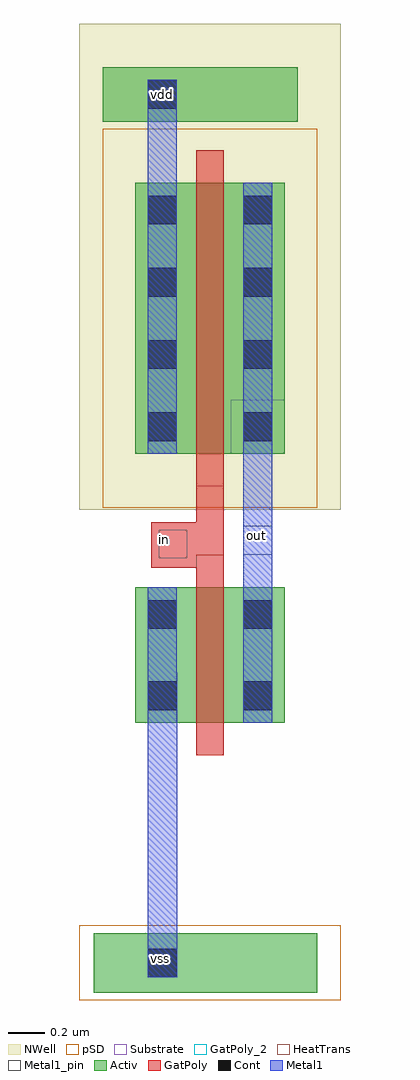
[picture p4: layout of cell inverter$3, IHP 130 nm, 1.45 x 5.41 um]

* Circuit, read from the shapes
.subckt inverter$3 in out vdd vss
XM1 out in vss vss sg13_lv_nmos w=0.75u l=0.15u
XM2 out in vdd vdd sg13_lv_pmos w=1.5u l=0.15u
.ends

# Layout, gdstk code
import gdstk
lib = gdstk.Library(unit=1e-6, precision=5e-09)
def R(c, l, rs):  # rectangles x0, y0, x1, y1
    for r in rs: c.add(gdstk.rectangle(r[:2], r[2:], *l))
def A(c, l, x, y, w, h, nx, ny, dx, dy):  # array of equal rectangles
    R(c, l, [(x+i*dx, y+j*dy, x+i*dx+w, y+j*dy+h) for i in range(nx) for j in range(ny)])
Activ = (1, 0)
GatPoly = (5, 0)
GatPoly_2 = (5, 2)
Cont = (6, 0)
Metal1 = (8, 0)
Metal1_pin = (8, 2)
pSD = (14, 0)
NWell = (31, 0)
Substrate = (40, 0)
HeatTrans = (51, 0)

nmos_4 = lib.new_cell('nmos$4')
R(nmos_4, Activ, [(0,0,0.3,0.3), (0,0,0.83,0.75), (0.53,0,0.83,0.3)])
R(nmos_4, GatPoly, [(0.34,-0.18,0.49,0.93)])
R(nmos_4, GatPoly_2, [(0.34,-0.18,0.49,0.93)])
R(nmos_4, Cont, [(0.07,0.07,0.23,0.23), (0.6,0.07,0.76,0.23), (0.07,0.52,0.23,0.68), (0.6,0.52,0.76,0.68)])
R(nmos_4, Metal1, [(0.07,0,0.23,0.75), (0.6,0,0.76,0.75)])
R(nmos_4, Metal1_pin, [(0.07,0,0.23,0.75), (0.6,0,0.76,0.75)])
R(nmos_4, HeatTrans, [(0.34,-0.18,0.49,0.93)])
nmos_4.add(gdstk.Label('nmos', (0.415,0.375), layer=63, texttype=0))
nmos_4.add(gdstk.Label('nmos', (0.415,0.375), layer=51, texttype=0))

pmos_4 = lib.new_cell('pmos$4')
R(pmos_4, Activ, [(0,0,0.3,0.3), (0,0,0.83,1.5), (0.53,0,0.83,0.3)])
R(pmos_4, GatPoly, [(0.34,-0.18,0.49,1.68), (0.34,-0.18,0.49,1.68)])
A(pmos_4, Cont, 0.07, 0.07, 0.16, 0.16, 1, 4, 0, 0.4)
A(pmos_4, Cont, 0.6, 0.07, 0.16, 0.16, 1, 4, 0, 0.4)
R(pmos_4, Metal1, [(0.07,0,0.23,1.5), (0.07,0,0.23,1.5), (0.6,0,0.76,1.5), (0.6,0,0.76,1.5)])
R(pmos_4, pSD, [(-0.18,-0.3,1.01,1.8)])
R(pmos_4, NWell, [(-0.31,-0.31,1.14,1.81)])
R(pmos_4, Substrate, [(0.53,0,0.83,0.3)])
R(pmos_4, HeatTrans, [(0.34,-0.18,0.49,1.68)])
pmos_4.add(gdstk.Label('pmos', (0.415,0.75), layer=63, texttype=0))
pmos_4.add(gdstk.Label('pmos', (0.415,0.75), layer=51, texttype=0))

inverter_3 = lib.new_cell('inverter$3')
R(inverter_3, Activ, [(-0.845,-2.62,0.395,-2.29), (-0.795,2.205,0.285,2.505)])
R(inverter_3, GatPoly, [(-0.525,-0.265,-0.275,-0.015), (-0.275,-0.195,-0.125,0.185)])
R(inverter_3, GatPoly_2, [(-0.485,-0.215,-0.325,-0.055)])
R(inverter_3, Cont, [(-0.545,-2.535,-0.385,-2.375), (-0.545,-2.535,-0.385,-2.375), (-0.545,2.275,-0.385,2.435)])
R(inverter_3, Metal1, [(-0.545,-2.535,-0.38,-0.845), (-0.015,-0.375,0.145,0.365), (-0.545,1.865,-0.385,2.435)])
R(inverter_3, Metal1_pin, [(-0.015,-0.195,0.145,-0.035)])
R(inverter_3, pSD, [(-0.925,-2.66,0.525,-2.245)])
R(inverter_3, NWell, [(-0.925,2.175,0.525,2.745)])
inverter_3.add(gdstk.Reference(nmos_4, (-0.615,-1.125)))
inverter_3.add(gdstk.Reference(pmos_4, (-0.615,0.365)))
inverter_3.add(gdstk.Label('vss', (-0.475,-2.43), layer=8, texttype=2))
inverter_3.add(gdstk.Label('vdd', (-0.465,2.355), layer=8, texttype=2))
inverter_3.add(gdstk.Label('out', (0.06,-0.09), layer=8, texttype=2))
inverter_3.add(gdstk.Label('in', (-0.45,-0.11), layer=5, texttype=2))

lib.write_gds('inverter_3.gds')
